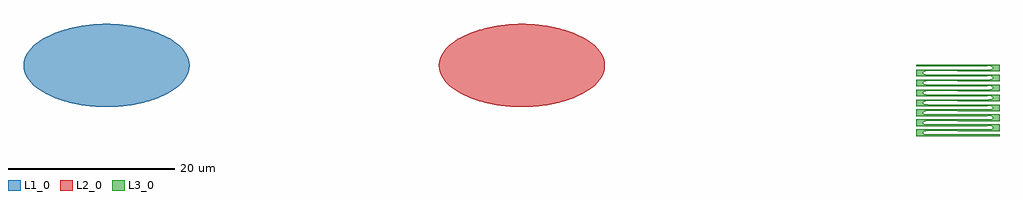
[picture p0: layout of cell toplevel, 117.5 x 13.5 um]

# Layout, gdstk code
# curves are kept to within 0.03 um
import gdstk
lib = gdstk.Library(unit=1e-6, precision=1e-09)
def R(c, l, rs):  # rectangles x0, y0, x1, y1
    for r in rs: c.add(gdstk.rectangle(r[:2], r[2:], *l))
def P(c, l, *ps):  # polygons
    for p in ps: c.add(gdstk.Polygon(p, *l))
L1_0 = (1, 0)
L2_0 = (2, 0)
L3_0 = (3, 0)

ellipse = lib.new_cell('ellipse')
P(ellipse, L1_0, [(10,0),(9.962,0.435),(9.85,0.862),(9.67,1.273),(9.142,2.027),(8.814,2.362),(8.085,2.943),(6.927,3.606),(5.459,4.189),(3.869,4.611),(2.028,4.896),(0,5),(-2.028,4.896),(-3.869,4.611),(-5.459,4.189),(-6.927,3.606),(-8.085,2.943),(-8.814,2.362),(-9.142,2.027),(-9.67,1.273),(-9.85,0.862),(-9.962,0.435),(-10,0),(-9.962,-0.435),(-9.85,-0.862),(-9.67,-1.273),(-9.142,-2.027),(-8.814,-2.362),(-8.085,-2.943),(-6.927,-3.606),(-5.459,-4.189),(-3.869,-4.611),(-2.028,-4.896),(0,-5),(2.028,-4.896),(3.869,-4.611),(5.459,-4.189),(6.927,-3.606),(8.085,-2.943),(8.814,-2.362),(9.142,-2.027),(9.67,-1.273),(9.85,-0.862),(9.962,-0.435)])

ellipse001 = lib.new_cell('ellipse001')
P(ellipse001, L2_0, [(10,0),(9.962,0.435),(9.85,0.862),(9.67,1.273),(9.142,2.027),(8.814,2.362),(8.085,2.943),(6.927,3.606),(5.459,4.189),(3.869,4.611),(2.028,4.896),(0,5),(-2.028,4.896),(-3.869,4.611),(-5.459,4.189),(-6.927,3.606),(-8.085,2.943),(-8.814,2.362),(-9.142,2.027),(-9.67,1.273),(-9.85,0.862),(-9.962,0.435),(-10,0),(-9.962,-0.435),(-9.85,-0.862),(-9.67,-1.273),(-9.142,-2.027),(-8.814,-2.362),(-8.085,-2.943),(-6.927,-3.606),(-5.459,-4.189),(-3.869,-4.611),(-2.028,-4.896),(0,-5),(2.028,-4.896),(3.869,-4.611),(5.459,-4.189),(6.927,-3.606),(8.085,-2.943),(8.814,-2.362),(9.142,-2.027),(9.67,-1.273),(9.85,-0.862),(9.962,-0.435)])

toplevel = lib.new_cell('toplevel')
R(toplevel, L3_0, [(102.5,-8.5,107.5,-8.3), (97.5,-0.1,102.5,0.1)])
P(toplevel, L3_0, [(106.018,-0.5),(106.54,-0.463),(106.66,-0.395),(106.7,-0.3),(107.5,-0.3),(107.5,-0.7),(102.5,-0.7),(102.5,-0.5)],
  [(106.018,-0.1),(106.54,-0.137),(106.66,-0.205),(106.7,-0.3),(107.5,-0.3),(107.5,0.1),(102.5,0.1),(102.5,-0.1)],
  [(98.982,-0.7),(98.46,-0.737),(98.34,-0.805),(98.3,-0.9),(97.5,-0.9),(97.5,-0.5),(102.5,-0.5),(102.5,-0.7)],
  [(98.982,-1.1),(98.46,-1.063),(98.34,-0.995),(98.3,-0.9),(97.5,-0.9),(97.5,-1.3),(102.5,-1.3),(102.5,-1.1)],
  [(106.018,-1.7),(106.54,-1.663),(106.66,-1.595),(106.7,-1.5),(107.5,-1.5),(107.5,-1.9),(102.5,-1.9),(102.5,-1.7)],
  [(106.018,-1.3),(106.54,-1.337),(106.66,-1.405),(106.7,-1.5),(107.5,-1.5),(107.5,-1.1),(102.5,-1.1),(102.5,-1.3)],
  [(98.982,-1.9),(98.46,-1.937),(98.34,-2.005),(98.3,-2.1),(97.5,-2.1),(97.5,-1.7),(102.5,-1.7),(102.5,-1.9)],
  [(98.982,-2.3),(98.46,-2.263),(98.34,-2.195),(98.3,-2.1),(97.5,-2.1),(97.5,-2.5),(102.5,-2.5),(102.5,-2.3)],
  [(106.018,-2.9),(106.54,-2.863),(106.66,-2.795),(106.7,-2.7),(107.5,-2.7),(107.5,-3.1),(102.5,-3.1),(102.5,-2.9)],
  [(106.018,-2.5),(106.54,-2.537),(106.66,-2.605),(106.7,-2.7),(107.5,-2.7),(107.5,-2.3),(102.5,-2.3),(102.5,-2.5)],
  [(98.982,-3.1),(98.46,-3.137),(98.34,-3.205),(98.3,-3.3),(97.5,-3.3),(97.5,-2.9),(102.5,-2.9),(102.5,-3.1)],
  [(98.982,-3.5),(98.46,-3.463),(98.34,-3.395),(98.3,-3.3),(97.5,-3.3),(97.5,-3.7),(102.5,-3.7),(102.5,-3.5)],
  [(106.018,-4.1),(106.54,-4.063),(106.66,-3.995),(106.7,-3.9),(107.5,-3.9),(107.5,-4.3),(102.5,-4.3),(102.5,-4.1)],
  [(106.018,-3.7),(106.54,-3.737),(106.66,-3.805),(106.7,-3.9),(107.5,-3.9),(107.5,-3.5),(102.5,-3.5),(102.5,-3.7)],
  [(98.982,-4.3),(98.46,-4.337),(98.34,-4.405),(98.3,-4.5),(97.5,-4.5),(97.5,-4.1),(102.5,-4.1),(102.5,-4.3)],
  [(98.982,-4.7),(98.46,-4.663),(98.34,-4.595),(98.3,-4.5),(97.5,-4.5),(97.5,-4.9),(102.5,-4.9),(102.5,-4.7)],
  [(106.018,-5.3),(106.54,-5.263),(106.66,-5.195),(106.7,-5.1),(107.5,-5.1),(107.5,-5.5),(102.5,-5.5),(102.5,-5.3)],
  [(106.018,-4.9),(106.54,-4.937),(106.66,-5.005),(106.7,-5.1),(107.5,-5.1),(107.5,-4.7),(102.5,-4.7),(102.5,-4.9)],
  [(98.982,-5.5),(98.46,-5.537),(98.34,-5.605),(98.3,-5.7),(97.5,-5.7),(97.5,-5.3),(102.5,-5.3),(102.5,-5.5)],
  [(98.982,-5.9),(98.46,-5.863),(98.34,-5.795),(98.3,-5.7),(97.5,-5.7),(97.5,-6.1),(102.5,-6.1),(102.5,-5.9)],
  [(106.018,-6.5),(106.54,-6.463),(106.66,-6.395),(106.7,-6.3),(107.5,-6.3),(107.5,-6.7),(102.5,-6.7),(102.5,-6.5)],
  [(106.018,-6.1),(106.54,-6.137),(106.66,-6.205),(106.7,-6.3),(107.5,-6.3),(107.5,-5.9),(102.5,-5.9),(102.5,-6.1)],
  [(98.982,-6.7),(98.46,-6.737),(98.34,-6.805),(98.3,-6.9),(97.5,-6.9),(97.5,-6.5),(102.5,-6.5),(102.5,-6.7)],
  [(98.982,-7.1),(98.46,-7.063),(98.34,-6.995),(98.3,-6.9),(97.5,-6.9),(97.5,-7.3),(102.5,-7.3),(102.5,-7.1)],
  [(106.018,-7.7),(106.54,-7.663),(106.66,-7.595),(106.7,-7.5),(107.5,-7.5),(107.5,-7.9),(102.5,-7.9),(102.5,-7.7)],
  [(106.018,-7.3),(106.54,-7.337),(106.66,-7.405),(106.7,-7.5),(107.5,-7.5),(107.5,-7.1),(102.5,-7.1),(102.5,-7.3)],
  [(98.982,-7.9),(98.46,-7.937),(98.34,-8.005),(98.3,-8.1),(97.5,-8.1),(97.5,-7.7),(102.5,-7.7),(102.5,-7.9)],
  [(98.982,-8.3),(98.46,-8.263),(98.34,-8.195),(98.3,-8.1),(97.5,-8.1),(97.5,-8.5),(102.5,-8.5),(102.5,-8.3)])
toplevel.add(gdstk.Reference(ellipse, (0,0)))
toplevel.add(gdstk.Reference(ellipse001, (50,0)))

lib.write_gds('toplevel.gds')
